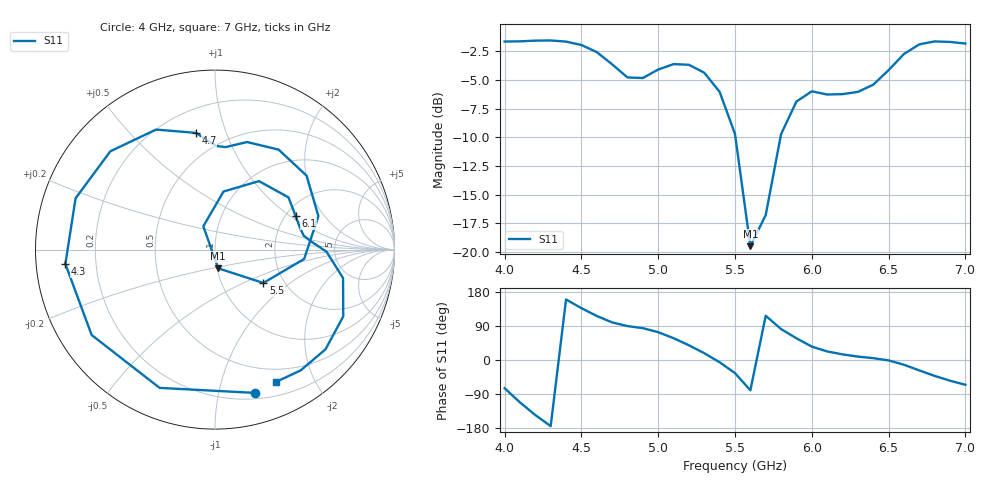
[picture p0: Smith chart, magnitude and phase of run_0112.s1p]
! Touchstone file exported from HFSS 2024.2.0
!  File:  C:/Users/wsak9/Desktop/Sim Fast/Widenad Patch/WP_AI_V1_sweep.aedt
!  Generated:  07:34:48 PM Oct 13, 2026
!  Design:  A1_model
!  Project:  WP_AI_V1_sweep
!  Setup:  Setup1
!  Solution:  Sweep
! Variables:
!  Air_gap = 2.25mm
!  Curve_Amp1 = 3.53
!  Curve_len1 = 1
!  Curve_pos = 10.71mm
!  Extra = 6.91mm
!  H_sub = 0.79mm
!  L_Patch = 17.42mm
!  L_Patch1 = 18.31mm
!  Sx = 0.42mm
!  Sy = 3.66mm
!  WS = 1.16mm
!  W_Patch = 14.59mm
!  W_Patch1 = 11.4mm
!Data is not renormalized
# GHz S MA
! Terminal data exported
! Port[1] = 1
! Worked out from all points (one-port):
!   31 points, 4 GHz to 7 GHz, reference per port
!   lowest |S11| = -19.5 dB at 5.6 GHz (marker M1), VSWR 1.24
!   |S11| at or under -10 dB: 5.503 GHz to 5.796 GHz (292.8 MHz wide, 5.18 % of centre)
!   S11 on the Smith chart (normalised r, x): 4 GHz: 0.25, -1.28; 4.3 GHz: 0.09, -0.05; 4.7 GHz: 0.34, +0.79; 5.5 GHz: 1.57, -0.65; 6.1 GHz: 2.25, +1.11; 7 GHz: 0.35, -1.50
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4  0.8284 -74.5
4.1  0.8299 -111.8
4.2  0.8359 -145.3
4.3  0.8374 -174.5
4.4  0.8277 159.8
4.5  0.8 136.8
4.6  0.7451 116.2
4.7  0.659 99.2
4.8  0.5775 89.5
4.9  0.5742 84.0
5  0.6252 73.4
5.1  0.6603 57.5
5.2  0.6558 38.9
5.3  0.6055 18.0
5.4  0.4995 -6.0
5.5  0.3274 -34.6
5.6  0.1061 -80.0
5.7  0.145 116.7
5.8  0.327 81.7
5.9  0.4534 57.3
6  0.5023 35.4
6.1  0.4866 22.7
6.3  0.4996 9.0
6.5  0.6215 -1.1
6.6  0.7309 -12.5
6.7  0.8055 -27.5
6.8  0.8293 -42.0
7  0.8119 -65.4
